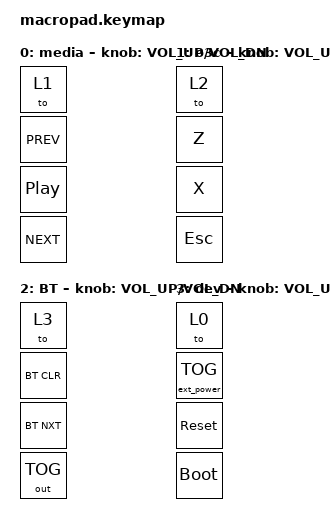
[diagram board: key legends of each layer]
#include <behaviors.dtsi>
#include <dt-bindings/zmk/keys.h>
#include <dt-bindings/zmk/bt.h>
#include <dt-bindings/zmk/outputs.h>
#include <dt-bindings/zmk/ext_power.h>

/ {
    keymap {
        compatible = "zmk,keymap";

        default_layer {
            label = "media";
            bindings = <
                &to 1
                &kp C_PREV
                &kp C_PP 
                &kp C_NEXT
            >;

            sensor-bindings = <&inc_dec_kp C_VOL_UP C_VOL_DN>;
        };

        o3c_layer {
            label = "o3c";
            bindings = <
                &to 2
                &kp Z
                &kp X
                &kp ESC
            >;

            sensor-bindings = <&inc_dec_kp C_VOL_UP C_VOL_DN>;
        };

        bt_layer {
            label = "BT";
            bindings = <
                &to 3 
                &bt BT_CLR
                &bt BT_NXT
                &out OUT_TOG
            >;

            sensor-bindings = <&inc_dec_kp C_VOL_UP C_VOL_DN>;
        };

        dev_layer {
            label = "dev";
            bindings = <
                &to 0 
                &ext_power EP_TOG
                &sys_reset
                &bootloader
            >;

            sensor-bindings = <&inc_dec_kp C_VOL_UP C_VOL_DN>;
        };
    };
};
